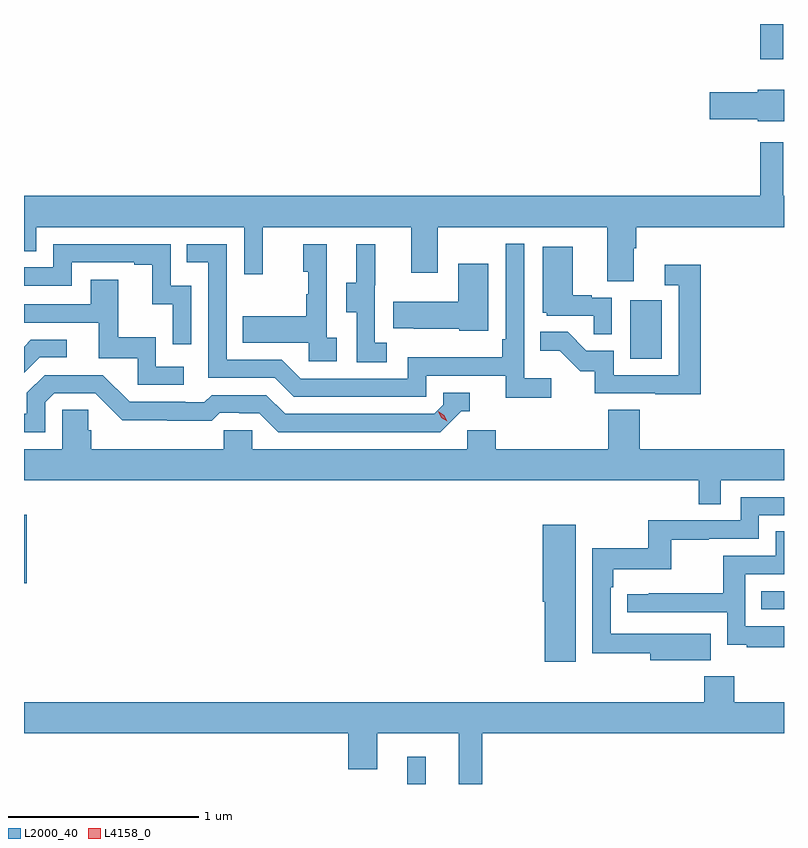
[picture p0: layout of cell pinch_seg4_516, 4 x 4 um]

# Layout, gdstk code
import gdstk
lib = gdstk.Library(unit=1e-6, precision=1e-09)
def R(c, l, rs):  # rectangles x0, y0, x1, y1
    for r in rs: c.add(gdstk.rectangle(r[:2], r[2:], *l))
def P(c, l, *ps):  # polygons
    for p in ps: c.add(gdstk.Polygon(p, *l))
L2000_40 = (2000, 40)
L4158_0 = (4158, 0)

pinch_seg4_516 = lib.new_cell('pinch_seg4_516')
R(pinch_seg4_516, L2000_40, [(996.02,760.589,996.118,760.732), (997.885,761.508,998.004,761.604), (994.004,761.646,994.019,762.007), (997.196,762.828,997.36,763.135), (997.878,764.403,997.999,764.589)])
P(pinch_seg4_516, L2000_40, [(998.004,764.242),(997.866,764.242),(997.866,764.231),(997.614,764.231),(997.614,764.089),(997.866,764.089),(997.866,764.078),(998.004,764.078)],
  [(998.004,763.684),(997.999,763.684),(997.999,763.966),(997.878,763.966),(997.878,763.684),(994.004,763.684),(994.004,763.393),(994.068,763.393),(994.068,763.52),(995.163,763.52),(995.163,763.272),(995.261,763.272),(995.261,763.52),(996.041,763.52),(996.041,763.281),(996.181,763.281),(996.181,763.52),(997.073,763.52),(997.073,763.234),(997.213,763.234),(997.213,763.408),(997.226,763.408),(997.226,763.52),(998.004,763.52)],
  [(996.778,762.724),(996.636,762.724),(996.636,763.432),(996.54,763.432),(996.54,762.931),(996.52,762.931),(996.52,762.835),(996.024,762.835),(996.024,762.723),(995.46,762.723),(995.361,762.822),(995.07,762.822),(995.07,763.431),(994.861,763.431),(994.861,763.335),(994.974,763.335),(994.974,762.726),(995.324,762.726),(995.423,762.627),(996.12,762.627),(996.12,762.738),(996.539,762.738),(996.539,762.622),(996.778,762.622)],
  [(994.884,763.212),(994.776,763.212),(994.776,763.431),(994.158,763.431),(994.158,763.308),(994.004,763.308),(994.004,763.212),(994.254,763.212),(994.254,763.335),(994.583,763.335),(994.583,763.323),(994.679,763.323),(994.679,763.115),(994.788,763.115),(994.788,762.903),(994.884,762.903)],
  [(995.65,762.938),(995.598,762.938),(995.598,763.429),(995.474,763.429),(995.474,763.284),(995.5,763.284),(995.5,763.166),(995.49,763.166),(995.49,763.051),(995.155,763.051),(995.155,762.911),(995.502,762.911),(995.502,762.813),(995.65,762.813)],
  [(995.914,762.911),(995.85,762.911),(995.85,763.215),(995.852,763.215),(995.852,763.429),(995.753,763.429),(995.753,763.227),(995.699,763.227),(995.699,763.072),(995.754,763.072),(995.754,762.808),(995.914,762.808)],
  [(997.098,763.149),(996.992,763.149),(996.992,763.162),(996.892,763.162),(996.892,763.417),(996.734,763.417),(996.734,763.068),(996.756,763.068),(996.756,763.053),(997.003,763.053),(997.003,762.955),(997.098,762.955)],
  [(996.448,763.327),(996.29,763.327),(996.29,763.126),(995.947,763.126),(995.947,762.989),(996.055,762.989),(996.055,762.986),(996.294,762.986),(996.294,762.974),(996.448,762.974)],
  [(997.565,763.321),(997.377,763.321),(997.377,763.215),(997.449,763.215),(997.449,762.741),(997.107,762.741),(997.107,762.87),(996.963,762.87),(996.865,762.968),(996.721,762.968),(996.721,762.869),(996.825,762.869),(996.932,762.762),(997.009,762.762),(997.009,762.645),(997.327,762.645),(997.327,762.64),(997.565,762.64)],
  [(994.846,762.786),(994.698,762.786),(994.698,762.94),(994.499,762.94),(994.499,763.243),(994.355,763.243),(994.355,763.113),(994.004,763.113),(994.004,763.017),(994.397,763.017),(994.397,762.831),(994.602,762.831),(994.602,762.69),(994.846,762.69)],
  [(994.086,762.834),(994.228,762.834),(994.228,762.927),(994.04,762.927),(994.004,762.891),(994.004,762.754),(994.006,762.754)],
  [(994.116,762.597),(994.164,762.645),(994.38,762.645),(994.522,762.503),(994.758,762.503),(994.758,762.501),(994.991,762.501),(995.033,762.543),(995.136,762.543),(995.136,762.54),(995.243,762.54),(995.342,762.441),(996.195,762.441),(996.306,762.552),(996.349,762.552),(996.349,762.648),(996.21,762.648),(996.21,762.585),(996.162,762.537),(995.379,762.537),(995.28,762.636),(994.991,762.636),(994.952,762.597),(994.853,762.597),(994.853,762.6),(994.56,762.6),(994.419,762.741),(994.113,762.741),(994.019,762.647),(994.019,762.537),(994.004,762.537),(994.004,762.441),(994.116,762.441)],
  [(997.671,762.188),(998.004,762.188),(998.004,762.352),(997.244,762.352),(997.244,762.56),(997.079,762.56),(997.079,762.352),(996.488,762.352),(996.488,762.45),(996.336,762.45),(996.336,762.352),(995.205,762.352),(995.205,762.45),(995.055,762.45),(995.055,762.352),(994.358,762.352),(994.358,762.45),(994.343,762.45),(994.343,762.56),(994.206,762.56),(994.206,762.352),(994.004,762.352),(994.004,762.188),(997.555,762.188),(997.555,762.061),(997.671,762.061)],
  [(997.619,761.38),(997.405,761.38),(997.405,761.379),(997.092,761.379),(997.092,761.624),(997.106,761.624),(997.106,761.72),(997.411,761.72),(997.411,761.875),(997.607,761.875),(997.607,761.88),(997.872,761.88),(997.872,762.003),(998.004,762.003),(998.004,762.099),(997.776,762.099),(997.776,761.976),(997.29,761.976),(997.29,761.83),(996.996,761.83),(996.996,761.278),(997.301,761.278),(997.301,761.24),(997.619,761.24)],
  [(996.907,761.953),(996.734,761.953),(996.734,761.547),(996.746,761.547),(996.746,761.232),(996.907,761.232)],
  [(998.004,761.418),(997.8,761.418),(997.8,761.694),(998.004,761.694),(998.004,761.918),(997.961,761.918),(997.961,761.79),(997.684,761.79),(997.684,761.594),(997.291,761.594),(997.291,761.589),(997.179,761.589),(997.179,761.493),(997.704,761.493),(997.704,761.321),(997.807,761.321),(997.807,761.31),(998.004,761.31)],
  [(996.415,760.856),(998.004,760.856),(998.004,761.02),(997.743,761.02),(997.743,761.155),(997.583,761.155),(997.583,761.02),(994.004,761.02),(994.004,760.856),(995.711,760.856),(995.711,760.666),(995.863,760.666),(995.863,760.856),(996.293,760.856),(996.293,760.589),(996.415,760.589)])
P(pinch_seg4_516, L4158_0, [(996.232,762.498),(996.201,762.517),(996.185,762.55),(996.185,762.55),(996.185,762.55),(996.216,762.53),(996.232,762.498),(996.232,762.498)])

lib.write_gds('pinch_seg4_516.gds')
